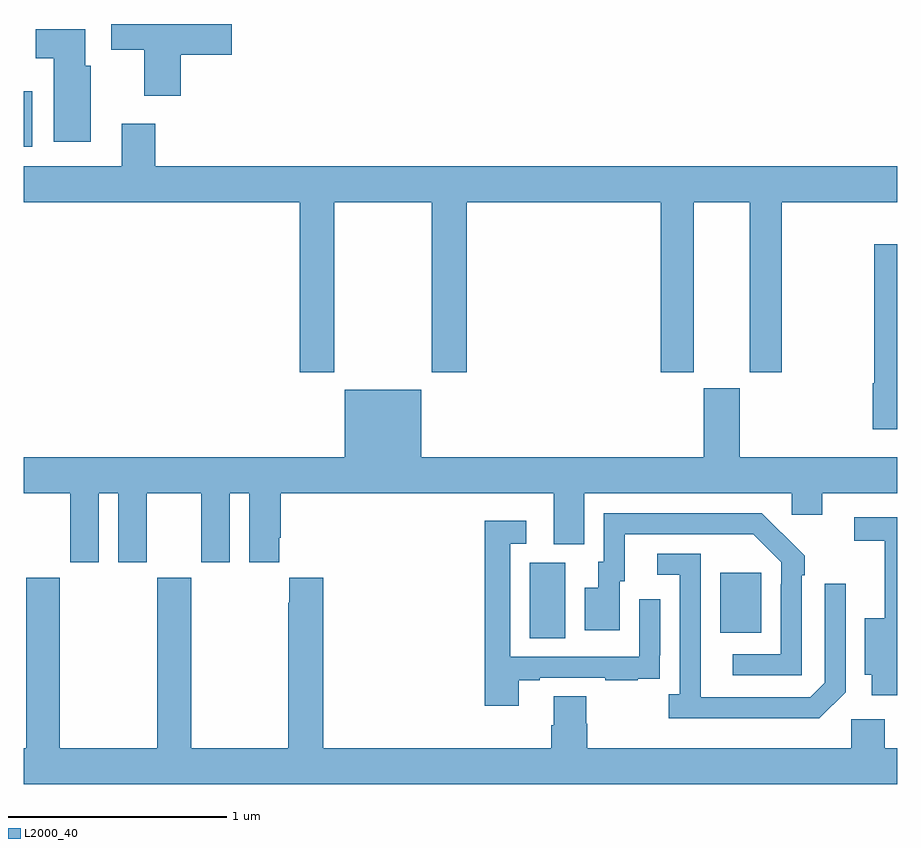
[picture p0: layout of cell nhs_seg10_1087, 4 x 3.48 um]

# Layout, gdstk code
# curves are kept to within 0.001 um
import gdstk
lib = gdstk.Library(unit=1e-6, precision=1e-09)
def R(c, l, rs):  # rectangles x0, y0, x1, y1
    for r in rs: c.add(gdstk.rectangle(r[:2], r[2:], *l))
def P(c, l, *ps):  # polygons
    for p in ps: c.add(gdstk.Polygon(p, *l))
L2000_40 = (2000, 40)

nhs_seg10_1087 = lib.new_cell('nhs_seg10_1087')
R(nhs_seg10_1087, L2000_40, [(169.316,1263.688,169.48,1264.032), (170.189,1263.713,170.377,1263.988), (167,1265.939,167.038,1266.193)])
P(nhs_seg10_1087, L2000_40, [(167.72,1266.359),(167.953,1266.359),(167.953,1266.5),(167.4,1266.5),(167.4,1266.382),(167.552,1266.382),(167.552,1266.171),(167.72,1266.171)],
  [(167.308,1266.309),(167.281,1266.309),(167.281,1266.475),(167.054,1266.475),(167.054,1266.344),(167.138,1266.344),(167.138,1265.961),(167.308,1265.961)],
  [(168.423,1265.684),(168.868,1265.684),(168.868,1264.905),(169.028,1264.905),(169.028,1265.684),(169.916,1265.684),(169.916,1264.905),(170.068,1264.905),(170.068,1265.684),(170.324,1265.684),(170.324,1264.905),(170.472,1264.905),(170.472,1265.684),(171,1265.684),(171,1265.848),(167.603,1265.848),(167.603,1266.043),(167.45,1266.043),(167.45,1265.848),(167,1265.848),(167,1265.684),(168.263,1265.684),(168.263,1264.905),(168.423,1264.905)],
  [(171,1265.491),(170.895,1265.491),(170.895,1264.856),(170.887,1264.856),(170.887,1264.644),(171,1264.644)],
  [(167.344,1264.352),(167.432,1264.352),(167.432,1264.035),(167.563,1264.035),(167.563,1264.352),(167.813,1264.352),(167.813,1264.035),(167.944,1264.035),(167.944,1264.352),(168.032,1264.352),(168.032,1264.035),(168.169,1264.035),(168.169,1264.147),(168.176,1264.147),(168.176,1264.352),(169.427,1264.352),(169.427,1264.117),(169.567,1264.117),(169.567,1264.352),(170.517,1264.352),(170.517,1264.254),(170.656,1264.254),(170.656,1264.352),(171,1264.352),(171,1264.516),(170.278,1264.516),(170.278,1264.833),(170.114,1264.833),(170.114,1264.516),(168.82,1264.516),(168.82,1264.825),(168.47,1264.825),(168.47,1264.516),(167,1264.516),(167,1264.352),(167.213,1264.352),(167.213,1264.035),(167.344,1264.035)],
  [(170.562,1263.977),(170.577,1263.977),(170.577,1264.065),(170.38,1264.26),(169.656,1264.26),(169.656,1264.038),(169.631,1264.038),(169.631,1263.919),(169.568,1263.919),(169.568,1263.723),(169.729,1263.723),(169.729,1263.948),(169.753,1263.948),(169.753,1264.164),(170.341,1264.164),(170.469,1264.035),(170.469,1263.935),(170.466,1263.935),(170.466,1263.615),(170.247,1263.615),(170.247,1263.519),(170.562,1263.519)],
  [(171,1264.242),(170.802,1264.242),(170.802,1264.134),(170.942,1264.134),(170.942,1263.778),(170.852,1263.778),(170.852,1263.521),(170.882,1263.521),(170.882,1263.426),(171,1263.426)],
  [(169.267,1263.495),(169.363,1263.495),(169.363,1263.507),(169.663,1263.507),(169.663,1263.495),(169.811,1263.495),(169.811,1263.501),(169.913,1263.501),(169.913,1263.61),(169.914,1263.61),(169.914,1263.865),(169.818,1263.865),(169.818,1263.603),(169.227,1263.603),(169.227,1264.119),(169.3,1264.119),(169.3,1264.225),(169.111,1264.225),(169.111,1263.378),(169.267,1263.378)],
  [(170.763,1263.441),(170.763,1263.937),(170.667,1263.937),(170.667,1263.483),(170.601,1263.417),(170.101,1263.417),(170.1,1264.074),(169.902,1264.074),(169.902,1263.978),(170.004,1263.978),(170.004,1263.43),(169.953,1263.43),(169.953,1263.32),(170.642,1263.32)],
  [(171,1263.184),(170.942,1263.184),(170.942,1263.316),(170.79,1263.316),(170.79,1263.184),(169.58,1263.184),(169.58,1263.297),(169.575,1263.297),(169.575,1263.422),(169.427,1263.422),(169.427,1263.29),(169.415,1263.29),(169.415,1263.184),(168.371,1263.184),(168.371,1263.964),(168.215,1263.964),(168.215,1263.851),(168.211,1263.851),(168.211,1263.184),(167.766,1263.184),(167.766,1263.964),(167.611,1263.964),(167.611,1263.184),(167.166,1263.184),(167.166,1263.964),(167.011,1263.964),(167.011,1263.184),(167,1263.184),(167,1263.02),(171,1263.02)])

lib.write_gds('nhs_seg10_1087.gds')
